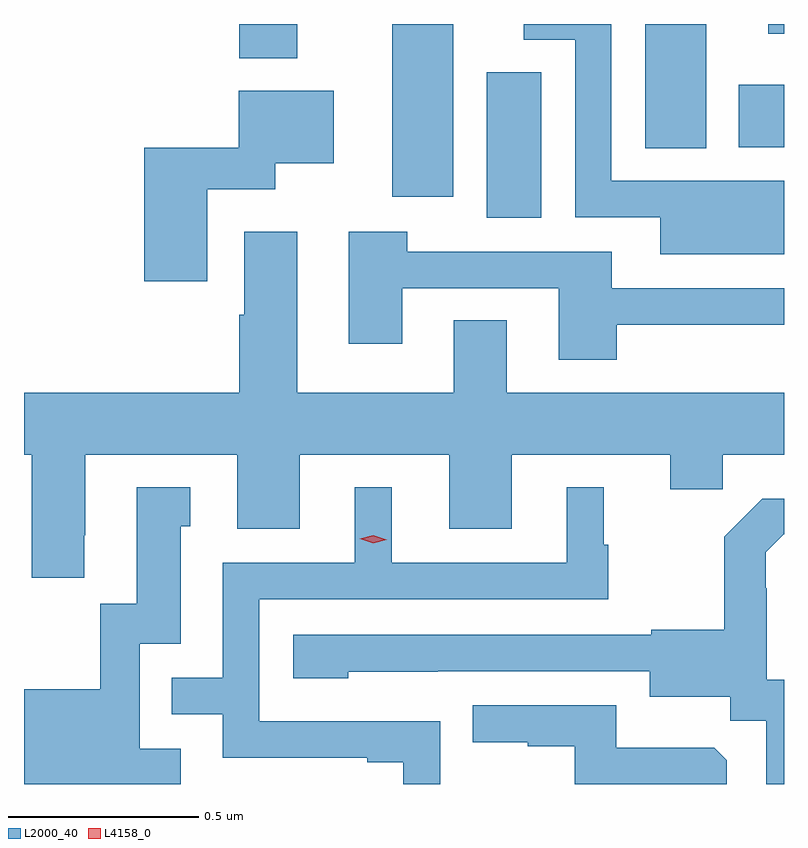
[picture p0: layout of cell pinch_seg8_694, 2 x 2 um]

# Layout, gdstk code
import gdstk
lib = gdstk.Library(unit=1e-6, precision=1e-09)
def R(c, l, rs):  # rectangles x0, y0, x1, y1
    for r in rs: c.add(gdstk.rectangle(r[:2], r[2:], *l))
def P(c, l, *ps):  # polygons
    for p in ps: c.add(gdstk.Polygon(p, *l))
L2000_40 = (2000, 40)
L4158_0 = (4158, 0)

pinch_seg8_694 = lib.new_cell('pinch_seg8_694')
R(pinch_seg8_694, L2000_40, [(306.542,1101.14,306.685,1101.523), (306.293,1101.195,306.454,1101.65), (306.959,1101.323,307.12,1101.65), (307.205,1101.326,307.324,1101.49), (305.891,1101.56,306.043,1101.65), (307.283,1101.624,307.324,1101.65)])
P(pinch_seg8_694, L2000_40, [(307.324,1101.238),(307.116,1101.238),(307.116,1101.237),(306.87,1101.237),(306.87,1101.65),(306.639,1101.65),(306.639,1101.608),(306.774,1101.608),(306.774,1101.141),(306.998,1101.141),(306.998,1101.044),(307.324,1101.044)],
  [(305.806,1101.215),(305.985,1101.215),(305.985,1101.284),(306.139,1101.284),(306.139,1101.475),(305.889,1101.475),(305.889,1101.325),(305.641,1101.325),(305.641,1100.973),(305.806,1100.973)],
  [(305.482,1100.305),(305.485,1100.305),(305.485,1100.516),(305.885,1100.516),(305.885,1100.322),(306.049,1100.322),(306.049,1100.516),(306.443,1100.516),(306.443,1100.322),(306.607,1100.322),(306.607,1100.516),(307.025,1100.516),(307.025,1100.426),(307.163,1100.426),(307.163,1100.516),(307.324,1100.516),(307.324,1100.68),(306.595,1100.68),(306.595,1100.87),(306.455,1100.87),(306.455,1100.68),(306.043,1100.68),(306.043,1101.103),(305.903,1101.103),(305.903,1100.885),(305.891,1100.885),(305.891,1100.68),(305.324,1100.68),(305.324,1100.516),(305.345,1100.516),(305.345,1100.193),(305.482,1100.193)],
  [(306.884,1100.858),(307.324,1100.858),(307.324,1100.955),(306.871,1100.955),(306.871,1101.051),(306.332,1101.051),(306.332,1101.103),(306.179,1101.103),(306.179,1100.808),(306.319,1100.808),(306.319,1100.955),(306.731,1100.955),(306.731,1100.766),(306.884,1100.766)],
  [(305.737,1099.743),(305.628,1099.743),(305.628,1100.019),(305.737,1100.019),(305.737,1100.328),(305.761,1100.328),(305.761,1100.431),(305.621,1100.431),(305.621,1100.124),(305.525,1100.124),(305.525,1099.9),(305.324,1099.9),(305.324,1099.65),(305.737,1099.65)],
  [(306.42,1099.815),(305.943,1099.815),(305.943,1100.136),(306.862,1100.136),(306.862,1100.28),(306.85,1100.28),(306.85,1100.431),(306.752,1100.431),(306.752,1100.232),(306.292,1100.232),(306.292,1100.431),(306.194,1100.431),(306.194,1100.232),(305.847,1100.232),(305.847,1099.929),(305.713,1099.929),(305.713,1099.833),(305.847,1099.833),(305.847,1099.719),(306.227,1099.719),(306.227,1099.707),(306.322,1099.707),(306.322,1099.65),(306.42,1099.65)],
  [(307.324,1099.924),(307.278,1099.924),(307.278,1100.165),(307.276,1100.165),(307.276,1100.26),(307.323,1100.307),(307.324,1100.307),(307.324,1100.401),(307.267,1100.401),(307.167,1100.301),(307.167,1100.056),(306.975,1100.056),(306.975,1100.043),(306.033,1100.043),(306.033,1099.928),(306.177,1099.928),(306.177,1099.946),(306.413,1099.946),(306.413,1099.947),(306.971,1099.947),(306.971,1099.88),(307.182,1099.88),(307.182,1099.816),(307.277,1099.816),(307.277,1099.65),(307.324,1099.65)],
  [(307.173,1099.713),(307.141,1099.745),(306.883,1099.745),(306.883,1099.857),(306.505,1099.857),(306.505,1099.76),(306.649,1099.76),(306.649,1099.749),(306.773,1099.749),(306.773,1099.65),(307.173,1099.65)])
P(pinch_seg8_694, L4158_0, [(306.243,1100.284),(306.207,1100.295),(306.207,1100.295),(306.207,1100.296),(306.243,1100.304),(306.279,1100.293),(306.279,1100.293),(306.279,1100.293)])

lib.write_gds('pinch_seg8_694.gds')
